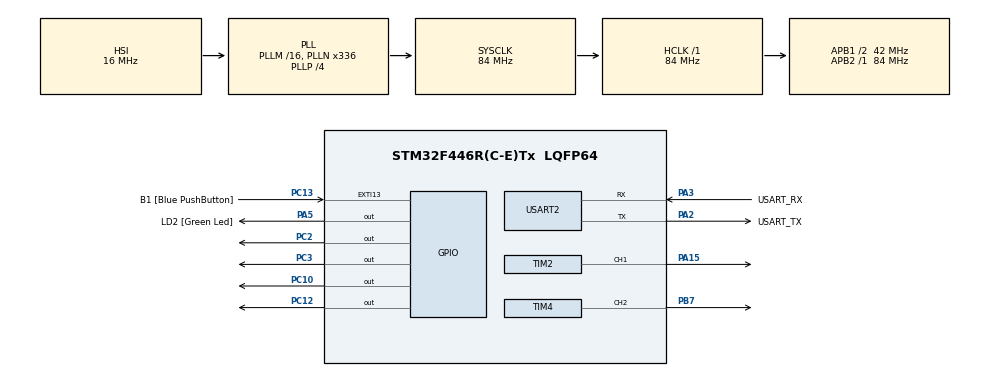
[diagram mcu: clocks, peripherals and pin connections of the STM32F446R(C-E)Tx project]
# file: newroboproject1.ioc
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Mcu.Family=STM32F4
Mcu.Name=STM32F446R(C-E)Tx
Mcu.Package=LQFP64
NVIC.PriorityGroup=NVIC_PRIORITYGROUP_0
PA13.Signal=SYS_JTMS-SWDIO
PA14.GPIO_Label=TCK
PA14.Signal=SYS_JTCK-SWCLK
PA15.Signal=S_TIM2_CH1_ETR
PA2.GPIO_Label=USART_TX
PA2.Mode=Asynchronous
PA2.Signal=USART2_TX
PA3.GPIO_Label=USART_RX
PA3.Mode=Asynchronous
PA3.Signal=USART2_RX
PA5.GPIO_Label=LD2 [Green Led]
PA5.Signal=GPIO_Output
PB3.GPIO_Label=SWO
PB3.Signal=SYS_JTDO-SWO
PB7.Signal=S_TIM4_CH2
PC10.Signal=GPIO_Output
PC12.Signal=GPIO_Output
PC13.GPIO_Label=B1 [Blue PushButton]
PC13.GPIO_ModeDefaultEXTI=GPIO_MODE_IT_FALLING
PC13.Signal=GPXTI13
PC14-OSC32_IN.Mode=LSE-External-Oscillator
PC14-OSC32_IN.Signal=RCC_OSC32_IN
PC15-OSC32_OUT.Mode=LSE-External-Oscillator
PC15-OSC32_OUT.Signal=RCC_OSC32_OUT
PC2.Signal=GPIO_Output
PC3.Signal=GPIO_Output
PH0-OSC_IN.Mode=HSE-External-Oscillator
PH0-OSC_IN.Signal=RCC_OSC_IN
PH1-OSC_OUT.Mode=HSE-External-Oscillator
PH1-OSC_OUT.Signal=RCC_OSC_OUT
ProjectManager.HeapSize=0x200
ProjectManager.StackSize=0x400
ProjectManager.TargetToolchain=STM32CubeIDE
RCC.48MHZClocksFreq_Value=84000000
RCC.AHBFreq_Value=84000000
RCC.APB1CLKDivider=RCC_HCLK_DIV2
RCC.APB1Freq_Value=42000000
RCC.APB1TimFreq_Value=84000000
RCC.APB2Freq_Value=84000000
RCC.APB2TimFreq_Value=84000000
RCC.CortexFreq_Value=84000000
RCC.FLatency-AdvancedSettings=FLASH_LATENCY_2
RCC.HCLKFreq_Value=84000000
RCC.HSE_VALUE=8000000
RCC.HSI_VALUE=16000000
RCC.PLLN=336
RCC.PLLP=RCC_PLLP_DIV4
RCC.RCC_TIM_PRescaler_Selection=RCC_TIMPRES_ACTIVATED
RCC.SYSCLKFreq_VALUE=84000000
RCC.SYSCLKSource=RCC_SYSCLKSOURCE_PLLCLK
RCC.USBFreq_Value=168000000
RCC.VCOOutputFreq_Value=336000000
SH.S_TIM2_CH1_ETR.0=TIM2_CH1,PWM Generation1 CH1
SH.S_TIM4_CH2.0=TIM4_CH2,PWM Generation2 CH2
TIM2.AutoReloadPreload=TIM_AUTORELOAD_PRELOAD_DISABLE
TIM2.Channel-PWM\ Generation1\ CH1=TIM_CHANNEL_1
TIM2.Period=999
TIM2.Prescaler=83
TIM4.AutoReloadPreload=TIM_AUTORELOAD_PRELOAD_DISABLE
TIM4.Channel-PWM\ Generation2\ CH2=TIM_CHANNEL_2
TIM4.Period=999
TIM4.Prescaler=84
USART2.VirtualMode=VM_ASYNC
VP_TIM2_VS_ClockSourceINT.Mode=Internal
VP_TIM4_VS_ClockSourceINT.Mode=Internal
board=NUCLEO-F446RE

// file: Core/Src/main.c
/* USER CODE BEGIN Header */
/**
  ******************************************************************************
  * @file           : main.c
  * @brief          : Motor control with PWM and serial commands
  ******************************************************************************
  */
/* USER CODE END Header */
#include "main.h"

/* USER CODE BEGIN PD */
// Motor PWM + Direction Pins
#define ENA_Pin     GPIO_PIN_15   // TIM2_CH1
#define ENA_Port    GPIOA

#define ENB_Pin     GPIO_PIN_7    // TIM4_CH2
#define ENB_Port    GPIOB

#define IN1_Pin     GPIO_PIN_10
#define IN1_Port    GPIOC

#define IN2_Pin     GPIO_PIN_12
#define IN2_Port    GPIOC

#define IN3_Pin     GPIO_PIN_3
#define IN3_Port    GPIOC

#define IN4_Pin     GPIO_PIN_2
#define IN4_Port    GPIOC

#define MOTOR_SPEED 400
/* USER CODE END PD */

TIM_HandleTypeDef htim2;
TIM_HandleTypeDef htim4;

UART_HandleTypeDef huart2;

/* USER CODE BEGIN PV */
char rxData;
uint8_t txData = 12;
//uint32_t MOTOR_SPEED = 1000;
/* USER CODE END PV */

void SystemClock_Config(void);
void PeriphCommonClock_Config(void);
static void MX_GPIO_Init(void);
static void MX_USART2_UART_Init(void);
static void MX_TIM2_Init(void);
static void MX_TIM4_Init(void);

/* USER CODE BEGIN 0 */
void stopMotors() {
  HAL_GPIO_WritePin(IN1_Port, IN1_Pin, GPIO_PIN_RESET);
  HAL_GPIO_WritePin(IN2_Port, IN2_Pin, GPIO_PIN_RESET);
  HAL_GPIO_WritePin(IN3_Port, IN3_Pin, GPIO_PIN_RESET);
  HAL_GPIO_WritePin(IN4_Port, IN4_Pin, GPIO_PIN_RESET);
}

void forward() {
  HAL_GPIO_WritePin(IN1_Port, IN1_Pin, GPIO_PIN_SET);
  HAL_GPIO_WritePin(IN2_Port, IN2_Pin, GPIO_PIN_RESET);
  HAL_GPIO_WritePin(IN3_Port, IN3_Pin, GPIO_PIN_RESET);
  HAL_GPIO_WritePin(IN4_Port, IN4_Pin, GPIO_PIN_SET);
//  setSpeed(700, 700);
}

void backward() {
  HAL_GPIO_WritePin(IN1_Port, IN1_Pin, GPIO_PIN_RESET);
  HAL_GPIO_WritePin(IN2_Port, IN2_Pin, GPIO_PIN_SET);
  HAL_GPIO_WritePin(IN3_Port, IN3_Pin, GPIO_PIN_SET);
  HAL_GPIO_WritePin(IN4_Port, IN4_Pin, GPIO_PIN_RESET);
//  setSpeed(700, 700);
}

void rotateLeft10() {
  HAL_GPIO_WritePin(IN1_Port, IN1_Pin, GPIO_PIN_RESET);
  HAL_GPIO_WritePin(IN2_Port, IN2_Pin, GPIO_PIN_SET);
  HAL_GPIO_WritePin(IN3_Port, IN3_Pin, GPIO_PIN_RESET);
  HAL_GPIO_WritePin(IN4_Port, IN4_Pin, GPIO_PIN_SET);
//  setSpeed(500, 500);
//  HAL_Delay(250);
//  stopMotors();
}

void rotateRight10() {
  HAL_GPIO_WritePin(IN1_Port, IN1_Pin, GPIO_PIN_SET);
  HAL_GPIO_WritePin(IN2_Port, IN2_Pin, GPIO_PIN_RESET);
  HAL_GPIO_WritePin(IN3_Port, IN3_Pin, GPIO_PIN_SET);
  HAL_GPIO_WritePin(IN4_Port, IN4_Pin, GPIO_PIN_RESET);
//  setSpeed(500, 500);
//  HAL_Delay(250);
//  stopMotors();
}
/* USER CODE END 0 */

int main(void)
{

  /* MCU Configuration--------------------------------------------------------*/

  /* Reset of all peripherals, Initializes the Flash interface and the Systick. */
  HAL_Init();

  /* Configure the system clock */
  SystemClock_Config();

  /* Configure the peripherals common clocks */
  PeriphCommonClock_Config();

  /* Initialize all configured peripherals */
  MX_GPIO_Init();
  MX_USART2_UART_Init();
  MX_TIM2_Init();
  MX_TIM4_Init();
  /* USER CODE BEGIN 2 */
//  HAL_UART_Receive_IT(&huart2, (uint8_t*)&rxData, 1);

//  HAL_GPIO_WritePin(ENA_Port, ENA_Pin, 1);
//  HAL_GPIO_WritePin(ENB_Port, ENB_Pin, 1);

  HAL_TIM_PWM_Start(&htim2, TIM_CHANNEL_1);  // Start PWM on PA15 (ENA)
  HAL_TIM_PWM_Start(&htim4, TIM_CHANNEL_2);  // Start PWM on PB7 (ENB)

  __HAL_TIM_SET_COMPARE(&htim2, TIM_CHANNEL_1, MOTOR_SPEED);  // Set speed for Motor A
  __HAL_TIM_SET_COMPARE(&htim4, TIM_CHANNEL_2, MOTOR_SPEED);  // Set speed for Motor B

  /* USER CODE END 2 */

  /* Infinite loop */
  /* USER CODE BEGIN WHILE */
  while (1)
  {
//    HAL_UART_Transmit(&huart2,(uint8_t*)&txData, 1, HAL_MAX_DELAY);
//    HAL_Delay(1000);

//    forward();

//    stopMotors();
//    HAL_Delay(1000);

//    backward();
//    HAL_Delay(2000);
//    stopMotors();
//    HAL_Delay(1000);
//
//    rotateLeft10();
//    HAL_Delay(2000);
//    stopMotors();
//    HAL_Delay(1000);
//
//    rotateRight10();
//    HAL_Delay(2000);
//    stopMotors();
//    HAL_Delay(1000);
  }
    /* USER CODE END WHILE */

}

void SystemClock_Config(void)
{
  RCC_OscInitTypeDef RCC_OscInitStruct = {0};
  RCC_ClkInitTypeDef RCC_ClkInitStruct = {0};

  /** Configure the main internal regulator output voltage
  */
  __HAL_RCC_PWR_CLK_ENABLE();
  __HAL_PWR_VOLTAGESCALING_CONFIG(PWR_REGULATOR_VOLTAGE_SCALE3);

  /** Initializes the RCC Oscillators according to the specified parameters
  * in the RCC_OscInitTypeDef structure.
  */
  RCC_OscInitStruct.OscillatorType = RCC_OSCILLATORTYPE_HSI;
  RCC_OscInitStruct.HSIState = RCC_HSI_ON;
  RCC_OscInitStruct.HSICalibrationValue = RCC_HSICALIBRATION_DEFAULT;
  RCC_OscInitStruct.PLL.PLLState = RCC_PLL_ON;
  RCC_OscInitStruct.PLL.PLLSource = RCC_PLLSOURCE_HSI;
  RCC_OscInitStruct.PLL.PLLM = 16;
  RCC_OscInitStruct.PLL.PLLN = 336;
  RCC_OscInitStruct.PLL.PLLP = RCC_PLLP_DIV4;
  RCC_OscInitStruct.PLL.PLLQ = 2;
  RCC_OscInitStruct.PLL.PLLR = 2;
  if (HAL_RCC_OscConfig(&RCC_OscInitStruct) != HAL_OK)
  {
    Error_Handler();
  }

  /** Initializes the CPU, AHB and APB buses clocks
  */
  RCC_ClkInitStruct.ClockType = RCC_CLOCKTYPE_HCLK|RCC_CLOCKTYPE_SYSCLK
                              |RCC_CLOCKTYPE_PCLK1|RCC_CLOCKTYPE_PCLK2;
  RCC_ClkInitStruct.SYSCLKSource = RCC_SYSCLKSOURCE_PLLCLK;
  RCC_ClkInitStruct.AHBCLKDivider = RCC_SYSCLK_DIV1;
  RCC_ClkInitStruct.APB1CLKDivider = RCC_HCLK_DIV2;
  RCC_ClkInitStruct.APB2CLKDivider = RCC_HCLK_DIV1;

  if (HAL_RCC_ClockConfig(&RCC_ClkInitStruct, FLASH_LATENCY_2) != HAL_OK)
  {
    Error_Handler();
  }
}

void PeriphCommonClock_Config(void)
{
  RCC_PeriphCLKInitTypeDef PeriphClkInitStruct = {0};

  /** Initializes the peripherals clock
  */
  PeriphClkInitStruct.PeriphClockSelection = RCC_PERIPHCLK_TIM;
  PeriphClkInitStruct.TIMPresSelection = RCC_TIMPRES_ACTIVATED;
  if (HAL_RCCEx_PeriphCLKConfig(&PeriphClkInitStruct) != HAL_OK)
  {
    Error_Handler();
  }
}

static void MX_TIM2_Init(void)
{

  TIM_ClockConfigTypeDef sClockSourceConfig = {0};
  TIM_MasterConfigTypeDef sMasterConfig = {0};
  TIM_OC_InitTypeDef sConfigOC = {0};

  htim2.Instance = TIM2;
  htim2.Init.Prescaler = 83;
  htim2.Init.CounterMode = TIM_COUNTERMODE_UP;
  htim2.Init.Period = 999;
  htim2.Init.ClockDivision = TIM_CLOCKDIVISION_DIV1;
  htim2.Init.AutoReloadPreload = TIM_AUTORELOAD_PRELOAD_DISABLE;
  if (HAL_TIM_Base_Init(&htim2) != HAL_OK)
  {
    Error_Handler();
  }
  sClockSourceConfig.ClockSource = TIM_CLOCKSOURCE_INTERNAL;
  if (HAL_TIM_ConfigClockSource(&htim2, &sClockSourceConfig) != HAL_OK)
  {
    Error_Handler();
  }
  if (HAL_TIM_PWM_Init(&htim2) != HAL_OK)
  {
    Error_Handler();
  }
  sMasterConfig.MasterOutputTrigger = TIM_TRGO_RESET;
  sMasterConfig.MasterSlaveMode = TIM_MASTERSLAVEMODE_DISABLE;
  if (HAL_TIMEx_MasterConfigSynchronization(&htim2, &sMasterConfig) != HAL_OK)
  {
    Error_Handler();
  }
  sConfigOC.OCMode = TIM_OCMODE_PWM1;
  sConfigOC.Pulse = 0;
  sConfigOC.OCPolarity = TIM_OCPOLARITY_HIGH;
  sConfigOC.OCFastMode = TIM_OCFAST_DISABLE;
  if (HAL_TIM_PWM_ConfigChannel(&htim2, &sConfigOC, TIM_CHANNEL_1) != HAL_OK)
  {
    Error_Handler();
  }
  HAL_TIM_MspPostInit(&htim2);

}

static void MX_TIM4_Init(void)
{

  TIM_ClockConfigTypeDef sClockSourceConfig = {0};
  TIM_MasterConfigTypeDef sMasterConfig = {0};
  TIM_OC_InitTypeDef sConfigOC = {0};

  htim4.Instance = TIM4;
  htim4.Init.Prescaler = 84;
  htim4.Init.CounterMode = TIM_COUNTERMODE_UP;
  htim4.Init.Period = 999;
  htim4.Init.ClockDivision = TIM_CLOCKDIVISION_DIV1;
  htim4.Init.AutoReloadPreload = TIM_AUTORELOAD_PRELOAD_DISABLE;
  if (HAL_TIM_Base_Init(&htim4) != HAL_OK)
  {
    Error_Handler();
  }
  sClockSourceConfig.ClockSource = TIM_CLOCKSOURCE_INTERNAL;
  if (HAL_TIM_ConfigClockSource(&htim4, &sClockSourceConfig) != HAL_OK)
  {
    Error_Handler();
  }
  if (HAL_TIM_PWM_Init(&htim4) != HAL_OK)
  {
    Error_Handler();
  }
  sMasterConfig.MasterOutputTrigger = TIM_TRGO_RESET;
  sMasterConfig.MasterSlaveMode = TIM_MASTERSLAVEMODE_DISABLE;
  if (HAL_TIMEx_MasterConfigSynchronization(&htim4, &sMasterConfig) != HAL_OK)
  {
    Error_Handler();
  }
  sConfigOC.OCMode = TIM_OCMODE_PWM1;
  sConfigOC.Pulse = 0;
  sConfigOC.OCPolarity = TIM_OCPOLARITY_HIGH;
  sConfigOC.OCFastMode = TIM_OCFAST_DISABLE;
  if (HAL_TIM_PWM_ConfigChannel(&htim4, &sConfigOC, TIM_CHANNEL_2) != HAL_OK)
  {
    Error_Handler();
  }
  HAL_TIM_MspPostInit(&htim4);

}

static void MX_USART2_UART_Init(void)
{

  huart2.Instance = USART2;
  huart2.Init.BaudRate = 115200;
  huart2.Init.WordLength = UART_WORDLENGTH_8B;
  huart2.Init.StopBits = UART_STOPBITS_1;
  huart2.Init.Parity = UART_PARITY_NONE;
  huart2.Init.Mode = UART_MODE_TX_RX;
  huart2.Init.HwFlowCtl = UART_HWCONTROL_NONE;
  huart2.Init.OverSampling = UART_OVERSAMPLING_16;
  if (HAL_UART_Init(&huart2) != HAL_OK)
  {
    Error_Handler();
  }

}

static void MX_GPIO_Init(void)
{
  GPIO_InitTypeDef GPIO_InitStruct = {0};

  /* GPIO Ports Clock Enable */
  __HAL_RCC_GPIOC_CLK_ENABLE();
  __HAL_RCC_GPIOH_CLK_ENABLE();
  __HAL_RCC_GPIOA_CLK_ENABLE();
  __HAL_RCC_GPIOB_CLK_ENABLE();

  /*Configure GPIO pin Output Level */
  HAL_GPIO_WritePin(GPIOC, GPIO_PIN_2|GPIO_PIN_3|GPIO_PIN_10|GPIO_PIN_12, GPIO_PIN_RESET);

  /*Configure GPIO pin Output Level */
  HAL_GPIO_WritePin(LD2_GPIO_Port, LD2_Pin, GPIO_PIN_RESET);

  /*Configure GPIO pin : B1_Pin */
  GPIO_InitStruct.Pin = B1_Pin;
  GPIO_InitStruct.Mode = GPIO_MODE_IT_FALLING;
  GPIO_InitStruct.Pull = GPIO_NOPULL;
  HAL_GPIO_Init(B1_GPIO_Port, &GPIO_InitStruct);

  /*Configure GPIO pins : PC2 PC3 PC10 PC12 */
  GPIO_InitStruct.Pin = GPIO_PIN_2|GPIO_PIN_3|GPIO_PIN_10|GPIO_PIN_12;
  GPIO_InitStruct.Mode = GPIO_MODE_OUTPUT_PP;
  GPIO_InitStruct.Pull = GPIO_NOPULL;
  GPIO_InitStruct.Speed = GPIO_SPEED_FREQ_LOW;
  HAL_GPIO_Init(GPIOC, &GPIO_InitStruct);

  /*Configure GPIO pin : LD2_Pin */
  GPIO_InitStruct.Pin = LD2_Pin;
  GPIO_InitStruct.Mode = GPIO_MODE_OUTPUT_PP;
  GPIO_InitStruct.Pull = GPIO_NOPULL;
  GPIO_InitStruct.Speed = GPIO_SPEED_FREQ_LOW;
  HAL_GPIO_Init(LD2_GPIO_Port, &GPIO_InitStruct);

}

/* USER CODE BEGIN 4 */
void HAL_UART_RxCpltCallback(UART_HandleTypeDef *huart) {
  if (huart->Instance == USART2) {
    switch (rxData) {
      case 'f': forward(); break;
      case 'b': backward(); break;
      case 'l': rotateLeft10(); break;
      case 'r': rotateRight10(); break;
      case 's': stopMotors(); break;
    }
    HAL_UART_Receive_IT(&huart2, (uint8_t*)&rxData, 1);
  }
}

int _write(int file, char *ptr, int len)
{
  (void)file;
  int DataIdx;

  for (DataIdx = 0; DataIdx < len; DataIdx++)
  {
    ITM_SendChar(*ptr++);
  }
  return len;
}
/* USER CODE END 4 */

void Error_Handler(void)
{
  __disable_irq();
  while (1)
  {
  }
}
